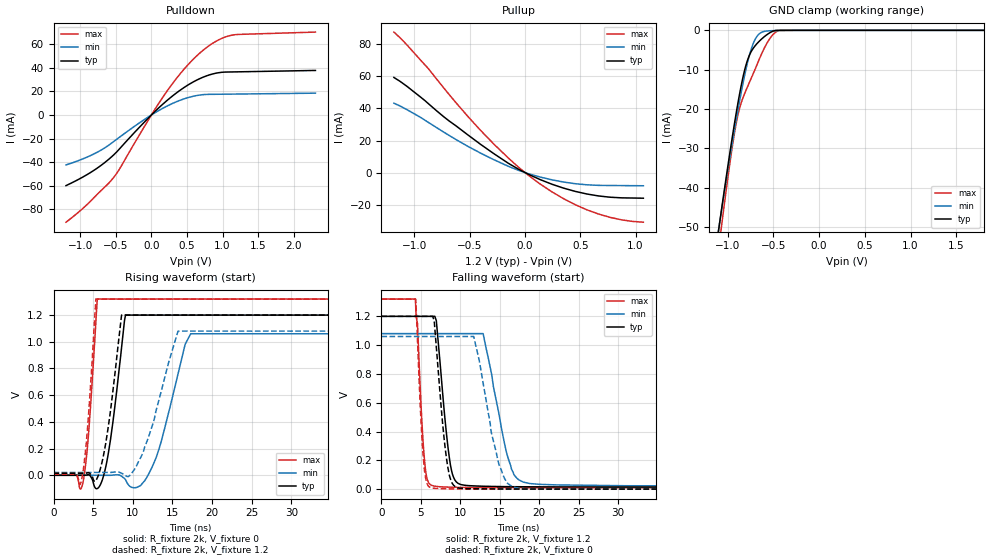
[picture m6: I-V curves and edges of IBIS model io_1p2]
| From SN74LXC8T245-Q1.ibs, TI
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[Model]   io_1p2
Model_type  I/O
Vinl=0.3
Vinh=0.9
Enable   Active-Low
Vref =   0
Rref =   2000
Cref =   15p
Vmeas =   0.6
| variable   typ   min   max
C_comp   6.34pF   5.61pF   7.15pF
| C_pullup   10.74pF   6.64pF   16.31pF
| C_pulldown   10.09pF   6.99pF   16.46pF
| C_tri-state   6.34pF   5.61pF   7.15pF
[Temperature Range]   25   125   -40
| Ambient temperature   25   85   -40
[Voltage range]   1.2   1.08   1.32
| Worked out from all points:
|   slope of the pulldown table from 0 to 0.18 V, typ, clamps not added: 17.6 ohm
|   slope of the pullup table from 0 to 0.18 V, typ, clamps not added: 32.4 ohm
|   GND clamp passes 1 mA (typ) near -0.56 V on its own axis
|   rising waveform, R_fixture 2k, V_fixture 0: 20-80 % time 1.47ns typ, 2.68ns min, 895ps max; typ from 0 V to 1.2 V
|   falling waveform, R_fixture 2k, V_fixture 1.2: 20-80 % time 1.23ns typ, 2.26ns min, 715ps max; typ from 1.2 V to 0.015 V
|   rising waveform, R_fixture 2k, V_fixture 1.2: 20-80 % time 1.51ns typ, 2.99ns min, 895ps max; typ from 0.015 V to 1.2 V
|   falling waveform, R_fixture 2k, V_fixture 0: 20-80 % time 1.19ns typ, 2.18ns min, 690ps max; typ from 1.2 V to 0 V
[GND Clamp]
| LXC8T245_IO_12
|   Voltage   I(typ)   I(min)   I(max)
-5.5V     -897.1mA   -831.9mA   -1.015A
-1.11V    -52.66mA   -52.33mA   -57.72mA
-1.08V    -47.7mA    -47.75mA   -52.14mA
-1.05V    -42.82mA   -43.24mA   -46.67mA
-915mV    -22.23mA   -23.93mA   -24.75mA
-835mV    -12.18mA   -13.81mA   -17.31mA
-785mV    -7.737mA   -8.436mA   -14.47mA
-735mV    -5.102mA   -4.277mA   -11.79mA
-645mV    -2.561mA   -727uA     -6.848mA
-530mV    -501.4uA   -105.7uA   -1.806mA
-430mV    -5.242uA   -35.39uA   -19.91uA
1.8V      23.18pA    30.38nA    510.2pA
[Pulldown]
| LXC8T245_IO_12
|   Voltage   I(typ)   I(min)   I(max)
-1.2V     -60.02mA   -42.43mA   -91.1mA
-835mV    -48.11mA   -33.91mA   -71.97mA
-655mV    -40.41mA   -27.94mA   -61.23mA
-525mV    -33.63mA   -22.34mA   -52.68mA
-430mV    -27.57mA   -18.06mA   -44.1mA
-110mV    -6.764mA   -4.321mA   -10.96mA
210mV     11.83mA    7.276mA    19.44mA
500mV     24.95mA    14.51mA    41.74mA
770mV     33.15mA    17.47mA    57.09mA
985mV     36.25mA    17.65mA    64.98mA
1.16V     36.61mA    17.76mA    68.13mA
2.305V    37.85mA    18.54mA    70.44mA
[Pullup]
| LXC8T245_IO_18
|   Voltage   I(typ)   I(min)   I(max)
-1.185V   59.29mA    43.25mA    87.57mA
-1.07V    53.91mA    39.34mA    79.78mA
-875mV    43.06mA    31.36mA    64.91mA
-625mV    29.2mA     20.66mA    43.65mA
-400mV    17.54mA    12.09mA    26.2mA
-150mV    5.788mA    3.92mA     9.044mA
35mV      -1.184mA   -766.3uA   -1.908mA
245mV     -7.266mA   -4.52mA    -12.05mA
350mV     -9.694mA   -5.885mA   -16.3mA
560mV     -13.33mA   -7.601mA   -23.19mA
770mV     -15.33mA   -8.028mA   -27.91mA
1.07V     -15.95mA   -8.192mA   -30.89mA
[Ramp]
| LXC8T245_IO_12
| variable   typ   min   max
dV/dt_r   0.72/2.3E-09   0.65/4.27E-09   0.79/1.1E-09
dV/dt_f   0.72/2.7E-09   0.65/4.1E-09   0.79/1.26E-9
R_load = 2k
[Rising Waveform]
| LXC8T245_IO_18
R_fixture =   2k
C_fixture =   0
L_fixture =   0
V_fixture =   0
V_fixture_min = 0
V_fixture_max = 0
|   Time   V(typ)   V(min)   V(max)
0s        267pV      9.22nV     2.33nV
3.7ns     -82.4uV    65.7nV     -57.2mV
4.47ns    4.06mV     356nV      352mV
5.52ns    -99.4mV    -2.34uV    1.32V
6.85ns    143mV      -106uV     1.32V
9.08ns    1.2V       -33.1mV    1.32V
10.7ns    1.2V       -85.3mV    1.32V
12.4ns    1.2V       58.1mV     1.32V
17.3ns    1.2V       1.06V      1.32V
50ns      1.2V       1.06V      1.32V
[Falling Waveform]
| LXC8T245_IO_18
R_fixture =   2k
C_fixture =   0
L_fixture =   0
V_fixture =   1.2
V_fixture_min = 1.08
V_fixture_max = 1.32
|   Time   V(typ)   V(min)   V(max)
0s        1.2V       1.08V      1.32V
4.31ns    1.2V       1.08V      1.32V
5.44ns    1.2V       1.08V      216mV
6.41ns    1.2V       1.08V      25.5mV
6.96ns    1.17V      1.08V      19.2mV
8.75ns    168mV      1.08V      13.8mV
9.92ns    35mV       1.08V      12.5mV
12.9ns    20.4mV     1.08V      11.2mV
17.7ns    16.8mV     56.8mV     10.4mV
50ns      14.9mV     21.8mV     9.87mV
[Rising Waveform]
| LXC8T245_IO_18
R_fixture =   2k
C_fixture =   0
L_fixture =   0
V_fixture =   1.2
V_fixture_min = 1.08
V_fixture_max = 1.32
|   Time   V(typ)   V(min)   V(max)
0s        14.8mV     21.5mV     9.86mV
3.47ns    14.7mV     21.5mV     -50.1mV
4.24ns    17.7mV     21.5mV     320mV
5.34ns    -39.9mV    21.5mV     1.32V
6.62ns    253mV      21.4mV     1.32V
8.58ns    1.2V       15.5mV     1.32V
9.59ns    1.2V       -3.12mV    1.32V
11.3ns    1.2V       171mV      1.32V
15.7ns    1.2V       1.08V      1.32V
50ns      1.2V       1.08V      1.32V
[Falling Waveform]
| LXC8T245_IO_18
R_fixture =   2k
C_fixture =   0
L_fixture =   0
V_fixture =   0
V_fixture_min = 0
V_fixture_max = 0
|   Time   V(typ)   V(min)   V(max)
0s        1.2V       1.06V      1.32V
4.32ns    1.2V       1.06V      1.32V
5.29ns    1.2V       1.06V      231mV
6.19ns    1.2V       1.06V      12mV
8.24ns    217mV      1.06V      2.51mV
9.37ns    16.8mV     1.06V      1.79mV
11.7ns    3.01mV     1.06V      1.11mV
14.9ns    1.48mV     171mV      682uV
16.7ns    1.13mV     16.2mV     530uV
50ns      52.8uV     208uV      5.46uV
